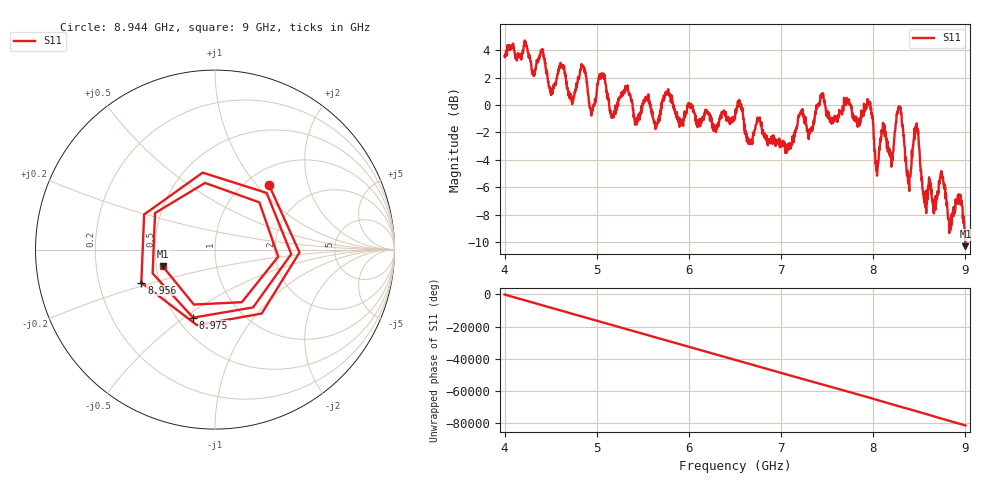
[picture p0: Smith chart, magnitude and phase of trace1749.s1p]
! Created with skrf 1.8.0 (http://scikit-rf.org).
# Hz S RI R 50.0
!freq ReS11 ImS11
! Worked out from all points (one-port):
!   1601 points, 4 GHz to 9 GHz, reference 50 ohm
!   lowest |S11| = -10.3 dB at 9 GHz (marker M1), VSWR 1.88, Z = 27 - j5.54 ohm
!   |S11| at or under -10 dB: 8.998571 GHz to end of sweep
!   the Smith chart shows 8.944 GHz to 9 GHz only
!   S11 on the Smith chart (normalised r, x): 8.944 GHz: 1.26, +1.17; 8.956 GHz: 0.39, -0.18; 8.975 GHz: 0.60, -0.54; 9 GHz: 0.54, -0.11
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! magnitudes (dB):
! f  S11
! 4 GHz  3.6
! 4.406 GHz  4.0
! 4.506 GHz  0.9
! 4.625 GHz  2.8
! 4.728 GHz  0.3
! 4.847 GHz  2.9
! 4.941 GHz  -0.8
! 5.053 GHz  2.0
! 5.162 GHz  -0.9
! 5.25 GHz  0.6
! 5.875 GHz  -1.0
! 6.5 GHz  -1.0
! 7.125 GHz  -2.3
! 7.444 GHz  0.8
! 7.75 GHz  0.0
! 7.959 GHz  0.2
! 8.038 GHz  -4.1
! 8.112 GHz  -1.5
! 8.203 GHz  -4.2
! 8.284 GHz  -0.1
! 8.375 GHz  -5.3
! 8.466 GHz  -1.7
! 8.559 GHz  -7.2
! 8.834 GHz  -8.5
! 8.944 GHz  -6.6
! 8.956 GHz  -6.9
! 8.975 GHz  -8.0
! 9 GHz  -10.3
